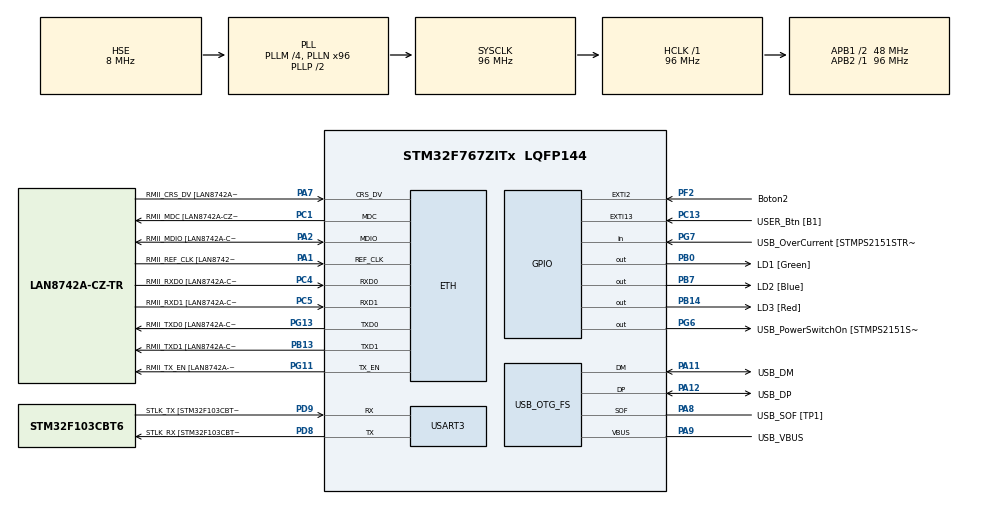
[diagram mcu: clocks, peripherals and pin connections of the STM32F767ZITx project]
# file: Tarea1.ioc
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ETH.MediaInterface=HAL_ETH_RMII_MODE
ETH.PHY_Name=LAN8742A_PHY_ADDRESS
ETH.PHY_Value=0
ETH.PhyAddress=0
Mcu.Family=STM32F7
Mcu.Name=STM32F767ZITx
Mcu.Package=LQFP144
NVIC.EXTI15_10_IRQn=true\:0\:0\:false\:false\:true\:true\:true\:true
NVIC.EXTI2_IRQn=true\:0\:0\:false\:false\:true\:true\:true\:true
NVIC.PriorityGroup=NVIC_PRIORITYGROUP_4
PA1.GPIO_Label=RMII_REF_CLK [LAN8742A-CZ-TR_REFCLK0]
PA1.Mode=RMII
PA1.Signal=ETH_REF_CLK
PA10.GPIO_Label=USB_ID
PA10.Signal=USB_OTG_FS_ID
PA11.GPIO_Label=USB_DM
PA11.Mode=Device_Only
PA11.Signal=USB_OTG_FS_DM
PA12.GPIO_Label=USB_DP
PA12.Mode=Device_Only
PA12.Signal=USB_OTG_FS_DP
PA13.GPIO_Label=TMS
PA13.Mode=Serial_Wire
PA13.Signal=SYS_JTMS-SWDIO
PA14.GPIO_Label=TCK
PA14.Mode=Serial_Wire
PA14.Signal=SYS_JTCK-SWCLK
PA2.GPIO_Label=RMII_MDIO [LAN8742A-CZ-TR_MDIO]
PA2.Mode=RMII
PA2.Signal=ETH_MDIO
PA7.GPIO_Label=RMII_CRS_DV [LAN8742A-CZ-TR_CRS_DV]
PA7.Mode=RMII
PA7.Signal=ETH_CRS_DV
PA8.GPIO_Label=USB_SOF [TP1]
PA8.Mode=Activate_SOF_FS
PA8.Signal=USB_OTG_FS_SOF
PA9.GPIO_Label=USB_VBUS
PA9.Mode=Activate_VBUS
PA9.Signal=USB_OTG_FS_VBUS
PB0.GPIO_Label=LD1 [Green]
PB0.Signal=GPIO_Output
PB13.GPIO_Label=RMII_TXD1 [LAN8742A-CZ-TR_TXD1]
PB13.Mode=RMII
PB13.Signal=ETH_TXD1
PB14.GPIO_Label=LD3 [Red]
PB14.Signal=GPIO_Output
PB3.GPIO_Label=SWO
PB3.Signal=SYS_JTDO-SWO
PB7.GPIO_Label=LD2 [Blue]
PB7.Signal=GPIO_Output
PC1.GPIO_Label=RMII_MDC [LAN8742A-CZ-TR_MDC]
PC1.Mode=RMII
PC1.Signal=ETH_MDC
PC13.GPIO_Label=USER_Btn [B1]
PC13.Signal=GPXTI13
PC14/OSC32_IN.Mode=LSE-External-Oscillator
PC14/OSC32_IN.Signal=RCC_OSC32_IN
PC15/OSC32_OUT.Mode=LSE-External-Oscillator
PC15/OSC32_OUT.Signal=RCC_OSC32_OUT
PC4.GPIO_Label=RMII_RXD0 [LAN8742A-CZ-TR_RXD0]
PC4.Mode=RMII
PC4.Signal=ETH_RXD0
PC5.GPIO_Label=RMII_RXD1 [LAN8742A-CZ-TR_RXD1]
PC5.Mode=RMII
PC5.Signal=ETH_RXD1
PD8.GPIO_Label=STLK_RX [STM32F103CBT6_PA3]
PD8.Mode=Asynchronous
PD8.Signal=USART3_TX
PD9.GPIO_Label=STLK_TX [STM32F103CBT6_PA2]
PD9.Mode=Asynchronous
PD9.Signal=USART3_RX
PF2.GPIO_Label=Boton2
PF2.Signal=GPXTI2
PG11.GPIO_Label=RMII_TX_EN [LAN8742A-CZ-TR_TXEN]
PG11.Mode=RMII
PG11.Signal=ETH_TX_EN
PG13.GPIO_Label=RMII_TXD0 [LAN8742A-CZ-TR_TXD0]
PG13.Mode=RMII
PG13.Signal=ETH_TXD0
PG6.GPIO_Label=USB_PowerSwitchOn [STMPS2151STR_EN]
PG6.Signal=GPIO_Output
PG7.GPIO_Label=USB_OverCurrent [STMPS2151STR_FAULT]
PG7.Signal=GPIO_Input
PH0/OSC_IN.GPIO_Label=MCO [STM32F103CBT6_PA8]
PH0/OSC_IN.Mode=HSE-External-Clock-Source
PH0/OSC_IN.Signal=RCC_OSC_IN
PH1/OSC_OUT.Mode=HSE-External-Clock-Source
PH1/OSC_OUT.Signal=RCC_OSC_OUT
ProjectManager.HeapSize=0x200
ProjectManager.StackSize=0x400
ProjectManager.TargetToolchain=STM32CubeIDE
RCC.48MHZClocksFreq_Value=24000000
RCC.AHBFreq_Value=96000000
RCC.APB1CLKDivider=RCC_HCLK_DIV2
RCC.APB1Freq_Value=48000000
RCC.APB1TimFreq_Value=96000000
RCC.APB2Freq_Value=96000000
RCC.APB2TimFreq_Value=96000000
RCC.CortexFreq_Value=96000000
RCC.HCLKFreq_Value=96000000
RCC.HSE_VALUE=8000000
RCC.HSI_VALUE=16000000
RCC.PLLM=4
RCC.PLLMUL=RCC_PLL_MUL9
RCC.PLLN=96
RCC.PLLQ=4
RCC.PRESCALERUSB=RCC_USBCLKSOURCE_PLL_DIV1_5
RCC.SYSCLKFreq_VALUE=96000000
RCC.SYSCLKSource=RCC_SYSCLKSOURCE_PLLCLK
RCC.SYSCLKSourceVirtual=RCC_SYSCLKSOURCE_PLLCLK
RCC.USBFreq_Value=48000000
RCC.VCOOutputFreq_Value=192000000
USART3.VirtualMode-Asynchronous=VM_ASYNC
USB_OTG_FS.VirtualMode=Device_Only
board=NUCLEO-F767ZI

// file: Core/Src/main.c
/* USER CODE BEGIN Header */
/**
  ******************************************************************************
  * @file           : main.c
  * @brief          : Main program body
  ******************************************************************************
  * @attention
  *
  * Copyright (c) 2024 STMicroelectronics.
  * All rights reserved.
  *
  * This software is licensed under terms that can be found in the LICENSE file
  * in the root directory of this software component.
  * If no LICENSE file comes with this software, it is provided AS-IS.
  *
  ******************************************************************************
  */
/* USER CODE END Header */
#include "main.h"
#include "string.h"

#if defined ( __ICCARM__ ) /*!< IAR Compiler */
#pragma location=0x2007c000
ETH_DMADescTypeDef  DMARxDscrTab[ETH_RX_DESC_CNT]; /* Ethernet Rx DMA Descriptors */
#pragma location=0x2007c0a0
ETH_DMADescTypeDef  DMATxDscrTab[ETH_TX_DESC_CNT]; /* Ethernet Tx DMA Descriptors */

#elif defined ( __CC_ARM )  /* MDK ARM Compiler */

__attribute__((at(0x2007c000))) ETH_DMADescTypeDef  DMARxDscrTab[ETH_RX_DESC_CNT]; /* Ethernet Rx DMA Descriptors */
__attribute__((at(0x2007c0a0))) ETH_DMADescTypeDef  DMATxDscrTab[ETH_TX_DESC_CNT]; /* Ethernet Tx DMA Descriptors */

#elif defined ( __GNUC__ ) /* GNU Compiler */
ETH_DMADescTypeDef DMARxDscrTab[ETH_RX_DESC_CNT] __attribute__((section(".RxDecripSection"))); /* Ethernet Rx DMA Descriptors */
ETH_DMADescTypeDef DMATxDscrTab[ETH_TX_DESC_CNT] __attribute__((section(".TxDecripSection")));   /* Ethernet Tx DMA Descriptors */

#endif

ETH_TxPacketConfig TxConfig;

ETH_HandleTypeDef heth;

UART_HandleTypeDef huart3;

PCD_HandleTypeDef hpcd_USB_OTG_FS;

void SystemClock_Config(void);
static void MX_GPIO_Init(void);
static void MX_ETH_Init(void);
static void MX_USART3_UART_Init(void);
static void MX_USB_OTG_FS_PCD_Init(void);

int main(void)
{

  /* MCU Configuration--------------------------------------------------------*/

  /* Reset of all peripherals, Initializes the Flash interface and the Systick. */
  HAL_Init();

  /* USER CODE BEGIN Init */
  State = 2;
  /* USER CODE END Init */

  /* Configure the system clock */
  SystemClock_Config();

  /* Initialize all configured peripherals */
  MX_GPIO_Init();
  MX_ETH_Init();
  MX_USART3_UART_Init();
  MX_USB_OTG_FS_PCD_Init();

  /* Infinite loop */
  while (1)
  {

    /* USER CODE BEGIN 3 */
	if(State == 1){
		HAL_GPIO_TogglePin(LD2_GPIO_Port, LD2_Pin);
	}else if(State == 0){
		HAL_GPIO_WritePin(LD2_GPIO_Port, LD2_Pin, GPIO_PIN_RESET);
	}else if(State ==2){
		int i=6;
		while(i>0){
		HAL_GPIO_TogglePin(LD2_GPIO_Port, LD2_Pin);
		HAL_Delay(500);
		i--;
	}
		lastState=State;
	    State=0;
	}
	HAL_Delay(500);
  }
  /* USER CODE END 3 */
}

void SystemClock_Config(void)
{
  RCC_OscInitTypeDef RCC_OscInitStruct = {0};
  RCC_ClkInitTypeDef RCC_ClkInitStruct = {0};

  /** Configure LSE Drive Capability
  */
  HAL_PWR_EnableBkUpAccess();

  /** Configure the main internal regulator output voltage
  */
  __HAL_RCC_PWR_CLK_ENABLE();
  __HAL_PWR_VOLTAGESCALING_CONFIG(PWR_REGULATOR_VOLTAGE_SCALE3);

  /** Initializes the RCC Oscillators according to the specified parameters
  * in the RCC_OscInitTypeDef structure.
  */
  RCC_OscInitStruct.OscillatorType = RCC_OSCILLATORTYPE_HSE;
  RCC_OscInitStruct.HSEState = RCC_HSE_BYPASS;
  RCC_OscInitStruct.PLL.PLLState = RCC_PLL_ON;
  RCC_OscInitStruct.PLL.PLLSource = RCC_PLLSOURCE_HSE;
  RCC_OscInitStruct.PLL.PLLM = 4;
  RCC_OscInitStruct.PLL.PLLN = 96;
  RCC_OscInitStruct.PLL.PLLP = RCC_PLLP_DIV2;
  RCC_OscInitStruct.PLL.PLLQ = 4;
  RCC_OscInitStruct.PLL.PLLR = 2;
  if (HAL_RCC_OscConfig(&RCC_OscInitStruct) != HAL_OK)
  {
    Error_Handler();
  }

  /** Activate the Over-Drive mode
  */
  if (HAL_PWREx_EnableOverDrive() != HAL_OK)
  {
    Error_Handler();
  }

  /** Initializes the CPU, AHB and APB buses clocks
  */
  RCC_ClkInitStruct.ClockType = RCC_CLOCKTYPE_HCLK|RCC_CLOCKTYPE_SYSCLK
                              |RCC_CLOCKTYPE_PCLK1|RCC_CLOCKTYPE_PCLK2;
  RCC_ClkInitStruct.SYSCLKSource = RCC_SYSCLKSOURCE_PLLCLK;
  RCC_ClkInitStruct.AHBCLKDivider = RCC_SYSCLK_DIV1;
  RCC_ClkInitStruct.APB1CLKDivider = RCC_HCLK_DIV2;
  RCC_ClkInitStruct.APB2CLKDivider = RCC_HCLK_DIV1;

  if (HAL_RCC_ClockConfig(&RCC_ClkInitStruct, FLASH_LATENCY_3) != HAL_OK)
  {
    Error_Handler();
  }
}

static void MX_ETH_Init(void)
{

   static uint8_t MACAddr[6];

  heth.Instance = ETH;
  MACAddr[0] = 0x00;
  MACAddr[1] = 0x80;
  MACAddr[2] = 0xE1;
  MACAddr[3] = 0x00;
  MACAddr[4] = 0x00;
  MACAddr[5] = 0x00;
  heth.Init.MACAddr = &MACAddr[0];
  heth.Init.MediaInterface = HAL_ETH_RMII_MODE;
  heth.Init.TxDesc = DMATxDscrTab;
  heth.Init.RxDesc = DMARxDscrTab;
  heth.Init.RxBuffLen = 1524;

  if (HAL_ETH_Init(&heth) != HAL_OK)
  {
    Error_Handler();
  }

  memset(&TxConfig, 0 , sizeof(ETH_TxPacketConfig));
  TxConfig.Attributes = ETH_TX_PACKETS_FEATURES_CSUM | ETH_TX_PACKETS_FEATURES_CRCPAD;
  TxConfig.ChecksumCtrl = ETH_CHECKSUM_IPHDR_PAYLOAD_INSERT_PHDR_CALC;
  TxConfig.CRCPadCtrl = ETH_CRC_PAD_INSERT;

}

static void MX_USART3_UART_Init(void)
{

  huart3.Instance = USART3;
  huart3.Init.BaudRate = 115200;
  huart3.Init.WordLength = UART_WORDLENGTH_8B;
  huart3.Init.StopBits = UART_STOPBITS_1;
  huart3.Init.Parity = UART_PARITY_NONE;
  huart3.Init.Mode = UART_MODE_TX_RX;
  huart3.Init.HwFlowCtl = UART_HWCONTROL_NONE;
  huart3.Init.OverSampling = UART_OVERSAMPLING_16;
  huart3.Init.OneBitSampling = UART_ONE_BIT_SAMPLE_DISABLE;
  huart3.AdvancedInit.AdvFeatureInit = UART_ADVFEATURE_NO_INIT;
  if (HAL_UART_Init(&huart3) != HAL_OK)
  {
    Error_Handler();
  }

}

static void MX_USB_OTG_FS_PCD_Init(void)
{

  hpcd_USB_OTG_FS.Instance = USB_OTG_FS;
  hpcd_USB_OTG_FS.Init.dev_endpoints = 6;
  hpcd_USB_OTG_FS.Init.speed = PCD_SPEED_FULL;
  hpcd_USB_OTG_FS.Init.dma_enable = DISABLE;
  hpcd_USB_OTG_FS.Init.phy_itface = PCD_PHY_EMBEDDED;
  hpcd_USB_OTG_FS.Init.Sof_enable = ENABLE;
  hpcd_USB_OTG_FS.Init.low_power_enable = DISABLE;
  hpcd_USB_OTG_FS.Init.lpm_enable = DISABLE;
  hpcd_USB_OTG_FS.Init.vbus_sensing_enable = ENABLE;
  hpcd_USB_OTG_FS.Init.use_dedicated_ep1 = DISABLE;
  if (HAL_PCD_Init(&hpcd_USB_OTG_FS) != HAL_OK)
  {
    Error_Handler();
  }

}

static void MX_GPIO_Init(void)
{
  GPIO_InitTypeDef GPIO_InitStruct = {0};

  /* GPIO Ports Clock Enable */
  __HAL_RCC_GPIOC_CLK_ENABLE();
  __HAL_RCC_GPIOF_CLK_ENABLE();
  __HAL_RCC_GPIOH_CLK_ENABLE();
  __HAL_RCC_GPIOA_CLK_ENABLE();
  __HAL_RCC_GPIOB_CLK_ENABLE();
  __HAL_RCC_GPIOD_CLK_ENABLE();
  __HAL_RCC_GPIOG_CLK_ENABLE();

  /*Configure GPIO pin Output Level */
  HAL_GPIO_WritePin(GPIOB, LD1_Pin|LD3_Pin|LD2_Pin, GPIO_PIN_RESET);

  /*Configure GPIO pin Output Level */
  HAL_GPIO_WritePin(USB_PowerSwitchOn_GPIO_Port, USB_PowerSwitchOn_Pin, GPIO_PIN_RESET);

  /*Configure GPIO pin : USER_Btn_Pin */
  GPIO_InitStruct.Pin = USER_Btn_Pin;
  GPIO_InitStruct.Mode = GPIO_MODE_IT_RISING;
  GPIO_InitStruct.Pull = GPIO_NOPULL;
  HAL_GPIO_Init(USER_Btn_GPIO_Port, &GPIO_InitStruct);

  /*Configure GPIO pin : Boton2_Pin */
  GPIO_InitStruct.Pin = Boton2_Pin;
  GPIO_InitStruct.Mode = GPIO_MODE_IT_RISING;
  GPIO_InitStruct.Pull = GPIO_NOPULL;
  HAL_GPIO_Init(Boton2_GPIO_Port, &GPIO_InitStruct);

  /*Configure GPIO pins : LD1_Pin LD3_Pin LD2_Pin */
  GPIO_InitStruct.Pin = LD1_Pin|LD3_Pin|LD2_Pin;
  GPIO_InitStruct.Mode = GPIO_MODE_OUTPUT_PP;
  GPIO_InitStruct.Pull = GPIO_NOPULL;
  GPIO_InitStruct.Speed = GPIO_SPEED_FREQ_LOW;
  HAL_GPIO_Init(GPIOB, &GPIO_InitStruct);

  /*Configure GPIO pin : USB_PowerSwitchOn_Pin */
  GPIO_InitStruct.Pin = USB_PowerSwitchOn_Pin;
  GPIO_InitStruct.Mode = GPIO_MODE_OUTPUT_PP;
  GPIO_InitStruct.Pull = GPIO_NOPULL;
  GPIO_InitStruct.Speed = GPIO_SPEED_FREQ_LOW;
  HAL_GPIO_Init(USB_PowerSwitchOn_GPIO_Port, &GPIO_InitStruct);

  /*Configure GPIO pin : USB_OverCurrent_Pin */
  GPIO_InitStruct.Pin = USB_OverCurrent_Pin;
  GPIO_InitStruct.Mode = GPIO_MODE_INPUT;
  GPIO_InitStruct.Pull = GPIO_NOPULL;
  HAL_GPIO_Init(USB_OverCurrent_GPIO_Port, &GPIO_InitStruct);

  /* EXTI interrupt init*/
  HAL_NVIC_SetPriority(EXTI2_IRQn, 0, 0);
  HAL_NVIC_EnableIRQ(EXTI2_IRQn);

  HAL_NVIC_SetPriority(EXTI15_10_IRQn, 0, 0);
  HAL_NVIC_EnableIRQ(EXTI15_10_IRQn);

}

/* USER CODE BEGIN 4 */
void HAL_GPIO_EXTI_Callback(uint16_t GPIO_Pin)
{
  if(GPIO_Pin == USER_Btn_Pin){
	  	  lastState=State;
	  	  if(State == 0){
		  State = 1;
	  }else{
		  State = 0;
	  }
  }

  if(GPIO_Pin == Boton2_Pin){
  		 	 lastState=State;
  		 	 if(State == 0){
  			 State = 2;//Parpadea 3 veces
  		  }else if(State == 1){
  			 State = 0;//apaga el led si estaba encendido
  		  }
  	  }
}
/* USER CODE END 4 */

void Error_Handler(void)
{
  __disable_irq();
  while (1)
  {
  }
}
